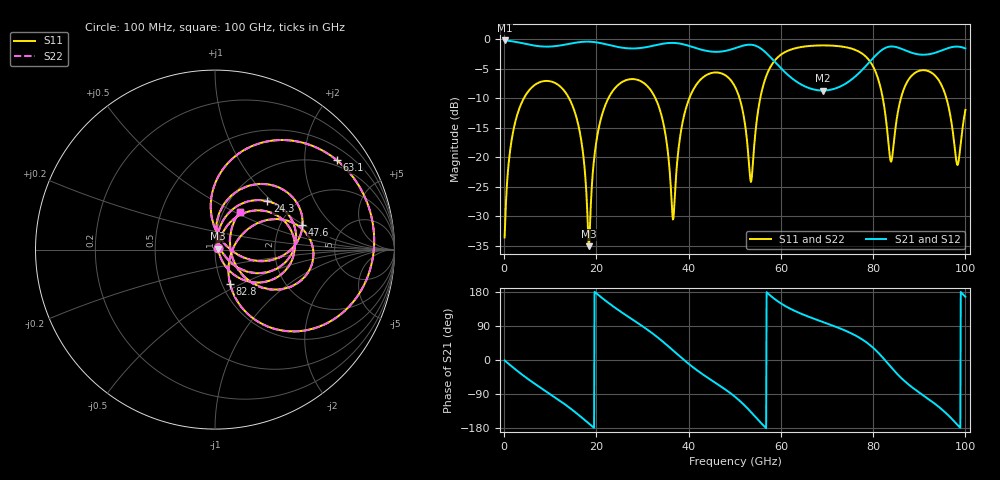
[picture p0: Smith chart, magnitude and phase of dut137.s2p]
! Touchstone file exported from HFSS 2026.1.0
!  File:  C:/ffzhzh/LocalFiles/Ansys_Project_Files/temp_train_TSV_RDL_137_1783461908_34316.aedt
!  Generated:  06:16:28 AM Jul  8, 2026
!  Design:  TSV_RDL
!  Project:  temp_train_TSV_RDL_137_1783461908_34316
! Variables:
!  h_bsmrdl = 4.07um
!  h_ox = 20um
!  h_rdl = 5um
!  h_sub = 96.27um
!  h_tmrdl = 2.39um
!  h_tsv = 96.27um
!  h_via = 3um
!  l_bsmrdl = 198.26um
!  l_sub = 2722.57um
!  l_tmrdl = 406.17um
!  m_sub = 200um
!  pitch = 41.42um
!  r_tsv = 9.77um
!  s_tmrdl = 10um
!  w_bsmrdl = 17.7um
!  w_sub = 500um
!  w_tmrdl = 16.67um
!  x_tsv_center1 = 414.505um
!  x_tsv_center2 = 630.465um
!  x_tsv_center3 = 1053.305um
!  x_tsv_center4 = 1269.265um
!  x_tsv_center5 = 1692.105um
!  x_tsv_center6 = 1908.065um
# GHz S MA R 50.000000
! Terminal data exported
! Port[1] = TM_RDL1_1_T1
! Port[2] = TM_RDL5_1_T1
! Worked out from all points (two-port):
!   1000 points, 100 MHz to 100 GHz, reference 50 ohm
!   highest |S21| = -0.16 dB at 100 MHz (marker M1); lowest = -8.7 dB at 69.1 GHz (marker M2)
!   |S21| within 3 dB of the highest: start of sweep to 57.93 GHz; 79.99 GHz to end of sweep
!   lowest |S11| = -35.1 dB at 18.4 GHz (marker M3), VSWR 1.04, Z = 51.7 + j0.534 ohm
!   |S11| at or under -10 dB: 14.1 GHz to 22.58 GHz (8.477 GHz wide, 46.2 % of centre); 32.82 GHz to 40.13 GHz (7.316 GHz wide, 20.1 % of centre); 51.05 GHz to 55.51 GHz (4.463 GHz wide, 8.38 % of centre) (the widest 3 of 6)
!   |S22| runs from -35.2 to -1.0 dB; largest |S21 - S12| = 1.5e-13
!   S11 on the Smith chart (normalised r, x): 100 MHz: 1.04, +0.02; 24.3 GHz: 1.47, +0.94; 47.6 GHz: 2.64, +0.98; 63.1 GHz: 0.83, +2.84; 82.8 GHz: 1.09, -0.43; 100 GHz: 1.19, +0.54
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0.1  0.02098 25.9  0.9813 -1.1  0.9813 -1.1  0.02098 25.9
! Gamma 0 0 0 0
! Port Impedance 50 0 50 0
2  0.1694 61.4  0.9616 -20.5  0.9616 -20.5  0.1694 61.4
5.9  0.3889 30.1  0.8962 -56.5  0.8962 -56.5  0.3889 30.1
16.8  0.1329 -56.4  0.9538 -151.5  0.9538 -151.5  0.1329 -56.5
18.4  0.01768 17.0  0.9583 -167.9  0.9583 -167.9  0.01744 16.7
20.5  0.1765 73.6  0.9387 170.9  0.9387 170.9  0.1764 73.7
24.3  0.3972 42.8  0.8698 135.7  0.8698 135.7  0.3971 42.9
33.4  0.2786 -28.2  0.9046 58.5  0.9046 58.5  0.2787 -27.9
36.6  0.02976 19.1  0.9356 25.4  0.9356 25.4  0.03172 19.6
40.2  0.3212 72.4  0.8795 -12.0  0.8795 -12.0  0.3216 72.0
47.6  0.5064 15.8  0.7953 -74.9  0.7953 -74.9  0.5067 15.6
50.1  0.3937 -3.5  0.8444 -97.5  0.8444 -97.5  0.394 -3.7
53.5  0.06196 38.2  0.903 -137.2  0.903 -137.2  0.06085 37.6
56.7  0.4745 82.5  0.7759 -178.7  0.7759 -178.7  0.474 82.6
63.1  0.8422 36.2  0.4471 129.0  0.4471 129.0  0.842 36.2
66.7  0.8841 19.7  0.3806 111.0  0.3806 111.0  0.884 19.6
69.1  0.891 9.9  0.3692 100.4  0.3692 100.4  0.8909 9.8
82.8  0.2073 -66.2  0.8537 -3.6  0.8537 -3.6  0.2076 -66.3
83.4  0.1235 -52.3  0.8681 -12.1  0.8681 -12.1  0.1239 -52.4
92.5  0.5273 -15.5  0.7545 -107.4  0.7545 -107.4  0.5273 -15.8
98.2  0.08713 -0.4  0.8706 -170.0  0.8706 -170.0  0.0854 -0.9
100  0.2528 56.8  0.8401 166.7  0.8401 166.7  0.252 57.0
